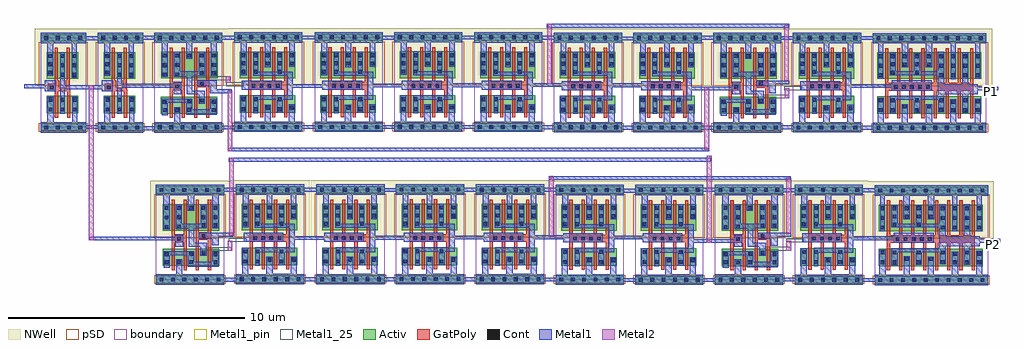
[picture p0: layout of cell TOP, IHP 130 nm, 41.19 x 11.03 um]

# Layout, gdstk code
import gdstk
lib = gdstk.Library(unit=1e-6, precision=1e-09)
def R(c, l, rs):  # rectangles x0, y0, x1, y1
    for r in rs: c.add(gdstk.rectangle(r[:2], r[2:], *l))
def A(c, l, x, y, w, h, nx, ny, dx, dy):  # array of equal rectangles
    R(c, l, [(x+i*dx, y+j*dy, x+i*dx+w, y+j*dy+h) for i in range(nx) for j in range(ny)])
def P(c, l, *ps):  # polygons
    for p in ps: c.add(gdstk.Polygon(p, *l))
Activ = (1, 0)
GatPoly = (5, 0)
Cont = (6, 0)
Metal1 = (8, 0)
Metal1_pin = (8, 2)
Metal1_25 = (8, 25)
Metal2 = (10, 0)
pSD = (14, 0)
NWell = (31, 0)
boundary = (189, 4)

sg13g2_inv_2 = lib.new_cell('sg13g2_inv_2')
R(sg13g2_inv_2, Activ, [(0,-0.15,1.92,0.15), (0.265,0.59,1.59,1.33), (0.255,2.06,1.58,3.18), (0,3.63,1.92,3.93)])
P(sg13g2_inv_2, GatPoly, [(0.605,0.41),(0.605,1.52),(0.305,1.52),(0.305,1.85),(0.595,1.85),(0.595,3.36),(0.725,3.36),(0.725,1.985),(0.785,1.985),(0.785,1.67),(1.055,1.67),(1.055,1.985),(1.11,1.985),(1.11,3.36),(1.24,3.36),(1.24,1.585),(1.245,1.585),(1.245,0.41),(1.115,0.41),(1.115,1.52),(0.735,1.52),(0.735,0.41)])
A(sg13g2_inv_2, Cont, 0.84, 2.145, 0.16, 0.16, 1, 3, 0, 0.395)
A(sg13g2_inv_2, Cont, 1.35, 2.145, 0.16, 0.16, 1, 3, 0, 0.395)
R(sg13g2_inv_2, Cont, [(0.16,-0.08,0.32,0.08), (0.16,-0.08,0.32,0.08), (0.64,-0.08,0.8,0.08), (0.64,-0.08,0.8,0.08), (1.12,-0.08,1.28,0.08), (1.12,-0.08,1.28,0.08), (1.6,-0.08,1.76,0.08), (1.6,-0.08,1.76,0.08), (0.335,0.675,0.495,0.835), (0.845,0.675,1.005,0.835), (1.36,0.675,1.52,0.835), (0.335,1.09,0.495,1.25), (0.845,1.09,1.005,1.25), (1.36,1.09,1.52,1.25), (0.39,1.605,0.55,1.765), (0.325,2.235,0.485,2.395), (0.325,2.59,0.485,2.75), (0.325,2.935,0.485,3.095), (0.16,3.7,0.32,3.86), (0.16,3.7,0.32,3.86), (0.64,3.7,0.8,3.86), (0.64,3.7,0.8,3.86), (1.12,3.7,1.28,3.86), (1.12,3.7,1.28,3.86), (1.6,3.7,1.76,3.86), (1.6,3.7,1.76,3.86)])
R(sg13g2_inv_2, Metal1, [(0.825,0.57,1.02,3.18), (0.18,1.52,0.635,2)])
P(sg13g2_inv_2, Metal1, [(0,-0.22),(0,0.22),(0.285,0.22),(0.285,1.3),(0.545,1.3),(0.545,0.22),(1.34,0.22),(1.34,1.305),(1.54,1.305),(1.54,0.22),(1.92,0.22),(1.92,-0.22)],
  [(1.32,2.095),(1.32,3.56),(0.535,3.56),(0.535,2.185),(0.275,2.185),(0.275,3.56),(0,3.56),(0,4),(1.92,4),(1.92,3.56),(1.535,3.56),(1.535,2.095)])
R(sg13g2_inv_2, Metal1_pin, [(0,-0.22,1.92,0.22), (0.825,0.57,1.02,3.18), (0.18,1.52,0.635,2), (0,3.56,1.92,4)])
R(sg13g2_inv_2, pSD, [(-0.07,-0.18,1.99,0.18), (-0.07,1.76,1.99,3.6)])
R(sg13g2_inv_2, NWell, [(-0.24,1.75,2.16,4.17)])
R(sg13g2_inv_2, boundary, [(0,0,1.92,3.78)])
sg13g2_inv_2.add(gdstk.Label('A', (0.415,1.75), layer=8, texttype=25))
sg13g2_inv_2.add(gdstk.Label('Y', (0.925,1.855), layer=8, texttype=25))
sg13g2_inv_2.add(gdstk.Label('VDD', (0.935,3.785), layer=8, texttype=25))
sg13g2_inv_2.add(gdstk.Label('VSS', (0.89,0), layer=8, texttype=25))

sg13g2_inv_4 = lib.new_cell('sg13g2_inv_4')
R(sg13g2_inv_4, Activ, [(0,-0.15,2.88,0.15), (0.245,0.59,2.585,1.33), (0.245,2.06,2.585,3.18), (0,3.63,2.88,3.93)])
P(sg13g2_inv_4, GatPoly, [(0.585,0.41),(0.585,3.36),(0.715,3.36),(0.715,1.9),(1.095,1.9),(1.095,3.36),(1.225,3.36),(1.225,1.9),(1.605,1.9),(1.605,3.36),(1.735,3.36),(1.735,1.9),(2.115,1.9),(2.115,3.36),(2.245,3.36),(2.245,0.41),(2.115,0.41),(2.115,1.57),(1.735,1.57),(1.735,0.41),(1.605,0.41),(1.605,1.57),(1.225,1.57),(1.225,0.41),(1.095,0.41),(1.095,1.57),(0.715,1.57),(0.715,0.41)])
A(sg13g2_inv_4, Cont, 0.735, 1.655, 0.16, 0.16, 4, 1, 0.34, 0)
A(sg13g2_inv_4, Cont, 0.315, 2.945, 0.16, 0.16, 5, 1, 0.51, 0)
R(sg13g2_inv_4, Cont, [(0.16,-0.08,0.32,0.08), (0.16,-0.08,0.32,0.08), (0.64,-0.08,0.8,0.08), (0.64,-0.08,0.8,0.08), (1.12,-0.08,1.28,0.08), (1.12,-0.08,1.28,0.08), (1.6,-0.08,1.76,0.08), (1.6,-0.08,1.76,0.08), (2.08,-0.08,2.24,0.08), (2.08,-0.08,2.24,0.08), (2.56,-0.08,2.72,0.08), (2.56,-0.08,2.72,0.08), (0.315,0.665,0.475,0.825), (0.825,0.665,0.985,0.825), (1.845,0.665,2.005,0.825), (1.335,0.735,1.495,0.895), (2.355,0.735,2.515,0.895), (0.315,1.09,0.475,1.25), (0.825,1.09,0.985,1.25), (1.845,1.09,2.005,1.25), (0.315,2.255,0.475,2.415), (0.825,2.255,0.985,2.415), (1.845,2.255,2.005,2.415), (1.335,2.595,1.495,2.755), (2.355,2.595,2.515,2.755), (0.315,2.605,0.475,2.765), (0.825,2.605,0.985,2.765), (1.845,2.605,2.005,2.765), (0.16,3.7,0.32,3.86), (0.16,3.7,0.32,3.86), (0.64,3.7,0.8,3.86), (0.64,3.7,0.8,3.86), (1.12,3.7,1.28,3.86), (1.12,3.7,1.28,3.86), (1.6,3.7,1.76,3.86), (1.6,3.7,1.76,3.86), (2.08,3.7,2.24,3.86), (2.08,3.7,2.24,3.86), (2.56,3.7,2.72,3.86), (2.56,3.7,2.72,3.86)])
R(sg13g2_inv_4, Metal1, [(0.325,1.57,2,1.95)])
P(sg13g2_inv_4, Metal1, [(0.285,2.19),(0.285,3.56),(0,3.56),(0,4),(2.88,4),(2.88,3.56),(2.55,3.56),(2.55,2.54),(2.32,2.54),(2.32,3.56),(1.54,3.56),(1.54,2.53),(1.3,2.53),(1.3,3.56),(0.53,3.56),(0.53,2.19)],
  [(0,-0.21),(0,0.21),(0.27,0.21),(0.27,1.325),(0.52,1.325),(0.52,0.21),(1.28,0.21),(1.28,0.945),(1.55,0.945),(1.55,0.22),(2.305,0.22),(2.305,0.95),(2.565,0.95),(2.565,0.21),(2.88,0.21),(2.88,-0.21)],
  [(0.815,0.57),(0.815,1.34),(2.245,1.34),(2.245,2.17),(0.8,2.17),(0.8,3.18),(1.015,3.18),(1.015,2.34),(1.815,2.34),(1.815,3.175),(2.03,3.175),(2.03,2.34),(2.475,2.34),(2.475,1.145),(2.06,1.145),(2.06,0.595),(1.805,0.595),(1.805,1.145),(1.01,1.145),(1.01,0.57)])
R(sg13g2_inv_4, Metal1_pin, [(0,-0.21,2.88,0.21), (2.245,1.145,2.475,2.34), (0.325,1.57,2,1.95), (0,3.56,2.88,4)])
R(sg13g2_inv_4, pSD, [(-0.07,-0.18,2.95,0.18), (-0.07,1.76,2.95,3.6)])
R(sg13g2_inv_4, NWell, [(-0.24,1.75,3.12,4.17)])
R(sg13g2_inv_4, boundary, [(0,0,2.88,3.78)])
sg13g2_inv_4.add(gdstk.Label('VSS', (1.405,0.005), layer=8, texttype=25))
sg13g2_inv_4.add(gdstk.Label('Y', (2.36,1.755), layer=8, texttype=25))
sg13g2_inv_4.add(gdstk.Label('VDD', (1.925,3.8), layer=8, texttype=25))
sg13g2_inv_4.add(gdstk.Label('A', (1.12,1.76), layer=8, texttype=25))

sg13g2_nand2_2 = lib.new_cell('sg13g2_nand2_2')
R(sg13g2_nand2_2, Activ, [(0,-0.15,2.88,0.15), (0.285,0.575,2.67,1.295), (0.3,2.06,2.68,3.18), (0,3.63,2.88,3.93)])
P(sg13g2_nand2_2, GatPoly, [(1.69,0.395),(1.69,3.36),(1.82,3.36),(1.82,1.99),(2.2,1.99),(2.2,3.36),(2.33,3.36),(2.33,0.395),(2.2,0.395),(2.2,1.685),(1.82,1.685),(1.82,0.395)],
  [(0.66,0.395),(0.66,3.36),(0.79,3.36),(0.79,1.875),(1.17,1.875),(1.17,3.36),(1.3,3.36),(1.3,0.395),(1.17,0.395),(1.17,1.565),(0.79,1.565),(0.79,0.395)])
A(sg13g2_nand2_2, Cont, 1.6, -0.08, 0.16, 0.16, 3, 2, 0.48, 3.78)
A(sg13g2_nand2_2, Cont, 0.9, 2.15, 0.16, 0.16, 1, 3, 0, 0.4)
R(sg13g2_nand2_2, Cont, [(0.16,-0.08,0.32,0.08), (0.16,-0.08,0.32,0.08), (0.64,-0.08,0.8,0.08), (0.64,-0.08,0.8,0.08), (1.12,-0.08,1.28,0.08), (1.12,-0.08,1.28,0.08), (1.6,-0.08,1.76,0.08), (0.9,0.645,1.06,0.805), (0.38,0.65,0.54,0.81), (2.44,0.65,2.6,0.81), (1.41,0.66,1.57,0.82), (0.375,0.99,0.535,1.15), (2.44,0.99,2.6,1.15), (1.41,1.005,1.57,1.165), (1.93,1.05,2.09,1.21), (0.9,1.64,1.06,1.8), (1.93,1.76,2.09,1.92), (0.37,2.14,0.53,2.3), (1.93,2.21,2.09,2.37), (2.44,2.21,2.6,2.37), (0.37,2.54,0.53,2.7), (1.93,2.55,2.09,2.71), (2.44,2.55,2.6,2.71), (0.37,2.95,0.53,3.11), (1.41,2.95,1.57,3.11), (1.93,2.95,2.09,3.11), (2.44,2.95,2.6,3.11), (0.16,3.7,0.32,3.86), (0.16,3.7,0.32,3.86), (0.64,3.7,0.8,3.86), (0.64,3.7,0.8,3.86), (1.12,3.7,1.28,3.86), (1.12,3.7,1.28,3.86), (1.6,3.7,1.76,3.86)])
R(sg13g2_nand2_2, Metal1, [(0.82,1.39,1.15,1.92)])
P(sg13g2_nand2_2, Metal1, [(0,-0.22),(0,0.22),(0.85,0.22),(0.85,0.855),(1.11,0.855),(1.11,0.22),(2.88,0.22),(2.88,-0.22)],
  [(0.325,0.5),(0.325,1.2),(1.62,1.2),(1.62,0.76),(2.37,0.76),(2.37,1.2),(2.65,1.2),(2.65,0.53),(1.35,0.53),(1.35,1.035),(0.585,1.035),(0.585,0.5)],
  [(1.88,1),(1.88,1.39),(1.38,1.39),(1.38,2.14),(0.84,2.14),(0.84,3.18),(1.1,3.18),(1.1,2.36),(1.89,2.36),(1.89,3.18),(2.15,3.18),(2.15,2.16),(1.62,2.16),(1.62,1.55),(2.14,1.55),(2.14,1)],
  [(2.37,1.44),(2.37,1.73),(1.815,1.73),(1.815,1.98),(2.645,1.98),(2.645,1.44)],
  [(0.32,2.125),(0.32,3.56),(0,3.56),(0,4),(2.88,4),(2.88,3.56),(2.65,3.56),(2.65,2.16),(2.39,2.16),(2.39,3.56),(1.61,3.56),(1.61,2.9),(1.35,2.9),(1.35,3.56),(0.58,3.56),(0.58,2.125)])
R(sg13g2_nand2_2, Metal1_pin, [(0,-0.22,2.88,0.22), (0.82,1.39,1.15,1.92), (1.38,1.39,1.62,2.36), (1.815,1.73,2.645,1.98), (0,3.56,2.88,4)])
R(sg13g2_nand2_2, pSD, [(-0.07,-0.18,2.95,0.18), (-0.07,1.76,2.95,3.6)])
R(sg13g2_nand2_2, NWell, [(-0.24,1.75,3.12,4.17)])
R(sg13g2_nand2_2, boundary, [(0,0,2.88,3.78)])
sg13g2_nand2_2.add(gdstk.Label('VSS', (0.51,0), layer=8, texttype=25))
sg13g2_nand2_2.add(gdstk.Label('A', (2.01,1.84), layer=8, texttype=25))
sg13g2_nand2_2.add(gdstk.Label('VDD', (0.97,3.78), layer=8, texttype=25))
sg13g2_nand2_2.add(gdstk.Label('B', (0.98,1.655), layer=8, texttype=25))
sg13g2_nand2_2.add(gdstk.Label('Y', (1.48,2.105), layer=8, texttype=25))

sg13g2_inv_8 = lib.new_cell('sg13g2_inv_8')
R(sg13g2_inv_8, Activ, [(0,-0.15,4.8,0.15), (0.185,0.59,4.575,1.33), (0.185,2.06,4.575,3.18), (0,3.63,4.8,3.93)])
P(sg13g2_inv_8, GatPoly, [(0.525,0.41),(0.525,3.36),(0.655,3.36),(0.655,1.9),(1.035,1.9),(1.035,3.36),(1.165,3.36),(1.165,1.9),(1.545,1.9),(1.545,3.36),(1.675,3.36),(1.675,1.9),(2.055,1.9),(2.055,3.36),(2.185,3.36),(2.185,1.9),(2.565,1.9),(2.565,3.36),(2.695,3.36),(2.695,1.9),(3.075,1.9),(3.075,3.36),(3.205,3.36),(3.205,1.9),(3.585,1.9),(3.585,3.36),(3.715,3.36),(3.715,1.9),(4.105,1.9),(4.105,3.36),(4.235,3.36),(4.235,0.41),(4.105,0.41),(4.105,1.57),(3.715,1.57),(3.715,0.41),(3.585,0.41),(3.585,1.57),(3.205,1.57),(3.205,0.41),(3.075,0.41),(3.075,1.57),(2.695,1.57),(2.695,0.41),(2.565,0.41),(2.565,1.57),(2.185,1.57),(2.185,0.41),(2.055,0.41),(2.055,1.57),(1.675,1.57),(1.675,0.41),(1.545,0.41),(1.545,1.57),(1.165,1.57),(1.165,0.41),(1.035,0.41),(1.035,1.57),(0.655,1.57),(0.655,0.41)])
A(sg13g2_inv_8, Cont, 0.765, 1.08, 0.16, 0.16, 4, 1, 1.02, 0)
A(sg13g2_inv_8, Cont, 0.89, 1.655, 0.16, 0.16, 5, 1, 0.34, 0)
A(sg13g2_inv_8, Cont, 2.805, 2.14, 0.16, 0.16, 3, 2, 0.51, 0.4)
A(sg13g2_inv_8, Cont, 0.255, 2.945, 0.16, 0.16, 8, 1, 0.51, 0)
R(sg13g2_inv_8, Cont, [(0.16,-0.08,0.32,0.08), (0.16,-0.08,0.32,0.08), (0.64,-0.08,0.8,0.08), (0.64,-0.08,0.8,0.08), (1.12,-0.08,1.28,0.08), (1.12,-0.08,1.28,0.08), (1.6,-0.08,1.76,0.08), (1.6,-0.08,1.76,0.08), (2.08,-0.08,2.24,0.08), (2.08,-0.08,2.24,0.08), (2.56,-0.08,2.72,0.08), (2.56,-0.08,2.72,0.08), (3.04,-0.08,3.2,0.08), (3.04,-0.08,3.2,0.08), (3.52,-0.08,3.68,0.08), (3.52,-0.08,3.68,0.08), (4,-0.08,4.16,0.08), (4,-0.08,4.16,0.08), (4.48,-0.08,4.64,0.08), (4.48,-0.08,4.64,0.08), (3.315,0.665,3.475,0.825), (0.255,0.67,0.415,0.83), (0.765,0.67,0.925,0.83), (1.785,0.67,1.945,0.83), (3.825,0.67,3.985,0.83), (4.345,0.67,4.505,0.83), (2.805,0.675,2.965,0.835), (1.275,0.815,1.435,0.975), (2.295,0.815,2.455,0.975), (3.315,1.015,3.475,1.175), (4.345,1.025,4.505,1.185), (0.255,1.08,0.415,1.24), (0.255,2.14,0.415,2.3), (4.345,2.14,4.505,2.3), (0.765,2.255,0.925,2.415), (1.785,2.255,1.945,2.415), (0.255,2.54,0.415,2.7), (4.345,2.54,4.505,2.7), (1.275,2.595,1.435,2.755), (2.295,2.595,2.455,2.755), (0.765,2.605,0.925,2.765), (1.785,2.605,1.945,2.765), (4.345,2.945,4.505,3.105), (0.16,3.7,0.32,3.86), (0.16,3.7,0.32,3.86), (0.64,3.7,0.8,3.86), (0.64,3.7,0.8,3.86), (1.12,3.7,1.28,3.86), (1.12,3.7,1.28,3.86), (1.6,3.7,1.76,3.86), (1.6,3.7,1.76,3.86), (2.08,3.7,2.24,3.86), (2.08,3.7,2.24,3.86), (2.56,3.7,2.72,3.86), (2.56,3.7,2.72,3.86), (3.04,3.7,3.2,3.86), (3.04,3.7,3.2,3.86), (3.52,3.7,3.68,3.86), (3.52,3.7,3.68,3.86), (4,3.7,4.16,3.86), (4,3.7,4.16,3.86), (4.48,3.7,4.64,3.86), (4.48,3.7,4.64,3.86)])
R(sg13g2_inv_8, Metal1, [(0.805,1.57,2.495,2)])
P(sg13g2_inv_8, Metal1, [(0,-0.22),(0,0.22),(0.205,0.22),(0.205,1.27),(0.465,1.27),(0.465,0.22),(1.225,0.22),(1.225,1),(1.485,1),(1.485,0.22),(2.245,0.22),(2.245,0.99),(2.505,0.99),(2.505,0.22),(3.265,0.22),(3.265,1.195),(3.525,1.195),(3.525,0.22),(4.295,0.22),(4.295,1.225),(4.555,1.225),(4.555,0.22),(4.8,0.22),(4.8,-0.22)],
  [(3.29,2.055),(3.29,3.56),(2.515,3.56),(2.515,2.56),(2.245,2.56),(2.245,3.56),(1.495,3.56),(1.495,2.565),(1.215,2.565),(1.215,3.56),(0.435,3.56),(0.435,2.06),(0.24,2.06),(0.24,3.56),(0,3.56),(0,4),(4.8,4),(4.8,3.56),(4.53,3.56),(4.53,2.065),(4.32,2.065),(4.32,3.56),(3.5,3.56),(3.5,2.055)],
  [(0.715,0.62),(0.715,1.345),(2.74,1.345),(2.74,2.22),(0.715,2.22),(0.715,3.16),(0.98,3.16),(0.98,2.385),(1.73,2.385),(1.73,3.155),(1.995,3.155),(1.995,2.38),(2.74,2.38),(2.74,3.2),(3.015,3.2),(3.015,1.84),(3.775,1.84),(3.775,3.19),(4.035,3.19),(4.035,1.84),(4.44,1.84),(4.44,1.42),(4.035,1.42),(4.035,0.64),(3.775,0.64),(3.775,1.42),(3.015,1.42),(3.015,0.665),(2.755,0.665),(2.755,1.18),(2,1.18),(2,0.635),(1.735,0.635),(1.735,1.18),(0.98,1.18),(0.98,0.62)])
R(sg13g2_inv_8, Metal1_pin, [(0,-0.22,4.8,0.22), (2.74,1.42,4.44,1.84), (0.805,1.57,2.495,2), (0,3.56,4.8,4)])
R(sg13g2_inv_8, pSD, [(-0.07,-0.18,4.87,0.18), (-0.07,1.76,4.87,3.6)])
R(sg13g2_inv_8, NWell, [(-0.24,1.75,5.04,4.17)])
R(sg13g2_inv_8, boundary, [(0,0,4.8,3.78)])
sg13g2_inv_8.add(gdstk.Label('VDD', (2.71,3.78), layer=8, texttype=25))
sg13g2_inv_8.add(gdstk.Label('VSS', (2.31,-0.02), layer=8, texttype=25))
sg13g2_inv_8.add(gdstk.Label('A', (1.645,1.785), layer=8, texttype=25))
sg13g2_inv_8.add(gdstk.Label('Y', (3.65,1.64), layer=8, texttype=25))

top = lib.new_cell('TOP')
top.add(gdstk.FlexPath([(-1.99,0.02),(-2.915,0.02)], 0.16, ends="flush", simple_path=True, layer=8, datatype=0))  # Metal1
top.add(gdstk.FlexPath([(5.855,-0.195),(5.105,-0.195)], 0.16, ends="flush", simple_path=True, layer=8, datatype=0))  # Metal1
top.add(gdstk.FlexPath([(22.345,-8.155),(22.925,-8.155),(22.925,-8.155),(22.925,-8.155)], 0.16, ends="flush", simple_path=True, layer=8, datatype=0))  # Metal1
top.add(gdstk.FlexPath([(32.435,-8.155),(33.015,-8.155),(33.015,-8.155),(33.015,-8.155)], 0.16, ends="flush", simple_path=True, layer=8, datatype=0))  # Metal1
top.add(gdstk.FlexPath([(29.045,-8.14),(29.625,-8.14),(29.625,-8.14),(29.625,-8.14)], 0.16, ends="flush", simple_path=True, layer=8, datatype=0))  # Metal1
top.add(gdstk.FlexPath([(15.61,-8.13),(16.19,-8.13),(16.19,-8.13),(16.19,-8.13)], 0.16, ends="flush", simple_path=True, layer=8, datatype=0))  # Metal1
top.add(gdstk.FlexPath([(22.27,-1.73),(22.85,-1.73),(22.85,-1.73),(22.85,-1.73)], 0.16, ends="flush", simple_path=True, layer=8, datatype=0))  # Metal1
top.add(gdstk.FlexPath([(32.36,-1.73),(32.94,-1.73),(32.94,-1.73),(32.94,-1.73)], 0.16, ends="flush", simple_path=True, layer=8, datatype=0))  # Metal1
top.add(gdstk.FlexPath([(28.97,-1.715),(29.55,-1.715),(29.55,-1.715),(29.55,-1.715)], 0.16, ends="flush", simple_path=True, layer=8, datatype=0))  # Metal1
top.add(gdstk.FlexPath([(15.535,-1.705),(16.115,-1.705),(16.115,-1.705),(16.115,-1.705)], 0.16, ends="flush", simple_path=True, layer=8, datatype=0))  # Metal1
top.add(gdstk.FlexPath([(26.07,-3.085),(5.735,-3.085)], 0.16, ends="flush", simple_path=True, layer=8, datatype=0))  # Metal1
top.add(gdstk.FlexPath([(26.015,-2.65),(5.68,-2.65)], 0.16, ends="flush", simple_path=True, layer=8, datatype=0))  # Metal1
top.add(gdstk.FlexPath([(11.885,-6.37),(13.535,-6.38),(13.535,-6.38)], 0.16, ends="flush", simple_path=True, layer=8, datatype=0))  # Metal1
top.add(gdstk.FlexPath([(15.23,-6.36),(16.88,-6.37),(16.88,-6.37)], 0.16, ends="flush", simple_path=True, layer=8, datatype=0))  # Metal1
top.add(gdstk.FlexPath([(21.975,-6.36),(23.625,-6.37),(23.625,-6.37)], 0.16, ends="flush", simple_path=True, layer=8, datatype=0))  # Metal1
top.add(gdstk.FlexPath([(18.56,-6.35),(20.21,-6.36),(20.21,-6.36)], 0.16, ends="flush", simple_path=True, layer=8, datatype=0))  # Metal1
top.add(gdstk.FlexPath([(11.81,0.055),(13.46,0.045),(13.46,0.045)], 0.16, ends="flush", simple_path=True, layer=8, datatype=0))  # Metal1
top.add(gdstk.FlexPath([(15.155,0.065),(16.805,0.055),(16.805,0.055)], 0.16, ends="flush", simple_path=True, layer=8, datatype=0))  # Metal1
top.add(gdstk.FlexPath([(21.9,0.065),(23.55,0.055),(23.55,0.055)], 0.16, ends="flush", simple_path=True, layer=8, datatype=0))  # Metal1
top.add(gdstk.FlexPath([(18.485,0.075),(20.135,0.065),(20.135,0.065)], 0.16, ends="flush", simple_path=True, layer=8, datatype=0))  # Metal1
top.add(gdstk.FlexPath([(29.455,-6.25),(28.8,-6.25)], 0.16, ends="flush", simple_path=True, layer=8, datatype=0))  # Metal1
top.add(gdstk.FlexPath([(29.38,0.175),(28.725,0.175)], 0.16, ends="flush", simple_path=True, layer=8, datatype=0))  # Metal1
top.add(gdstk.FlexPath([(10.115,-6.4),(8.465,-6.39),(8.465,-6.39)], 0.16, ends="flush", simple_path=True, layer=8, datatype=0))  # Metal1
top.add(gdstk.FlexPath([(0.44,-0.03),(-1.21,-0.02),(-1.21,-0.02)], 0.16, ends="flush", simple_path=True, layer=8, datatype=0))  # Metal1
top.add(gdstk.FlexPath([(10.04,0.025),(8.39,0.035),(8.39,0.035)], 0.16, ends="flush", simple_path=True, layer=8, datatype=0))  # Metal1
top.add(gdstk.FlexPath([(-0.17,-6.405),(3.535,-6.405)], 0.16, ends="flush", simple_path=True, layer=8, datatype=0))  # Metal1
top.add(gdstk.FlexPath([(19.225,-3.85),(29.45,-3.85)], 0.16, ends="flush", simple_path=True, layer=8, datatype=0))  # Metal1
top.add(gdstk.FlexPath([(19.15,2.575),(29.375,2.575)], 0.16, ends="flush", simple_path=True, layer=8, datatype=0))  # Metal1
top.add(gdstk.FlexPath([(5.92,-6.245),(5.16,-6.245)], 0.16, ends="flush", simple_path=True, layer=8, datatype=0))  # Metal1
top.add(gdstk.FlexPath([(37.27,-6.505),(38.275,-6.505)], 0.16, ends="flush", simple_path=True, layer=8, datatype=0))  # Metal1
top.add(gdstk.FlexPath([(37.195,-0.08),(38.2,-0.08)], 0.16, ends="flush", simple_path=True, layer=8, datatype=0))  # Metal1
top.add(gdstk.FlexPath([(27.065,-6.515),(25.27,-6.5),(25.265,-6.5)], 0.16, ends="flush", simple_path=True, layer=8, datatype=0))  # Metal1
top.add(gdstk.FlexPath([(26.99,-0.09),(25.195,-0.075),(25.19,-0.075)], 0.16, ends="flush", simple_path=True, layer=8, datatype=0))  # Metal1
top.add(gdstk.FlexPath([(26.295,-8.16),(25.715,-8.16),(25.715,-8.16),(25.715,-8.16)], 0.16, ends="flush", simple_path=True, layer=8, datatype=0))  # Metal1
top.add(gdstk.FlexPath([(6.06,-8.145),(5.48,-8.145),(5.48,-8.145),(5.48,-8.145)], 0.16, ends="flush", simple_path=True, layer=8, datatype=0))  # Metal1
top.add(gdstk.FlexPath([(19.565,-8.14),(18.985,-8.14),(18.985,-8.14),(18.985,-8.14)], 0.16, ends="flush", simple_path=True, layer=8, datatype=0))  # Metal1
top.add(gdstk.FlexPath([(9.46,-8.125),(8.88,-8.125),(8.88,-8.125),(8.88,-8.125)], 0.16, ends="flush", simple_path=True, layer=8, datatype=0))  # Metal1
top.add(gdstk.FlexPath([(12.845,-8.125),(12.265,-8.125),(12.265,-8.125),(12.265,-8.125)], 0.16, ends="flush", simple_path=True, layer=8, datatype=0))  # Metal1
top.add(gdstk.FlexPath([(22.96,-4.395),(22.38,-4.395),(22.38,-4.395),(22.38,-4.395)], 0.16, ends="flush", simple_path=True, layer=8, datatype=0))  # Metal1
top.add(gdstk.FlexPath([(29.655,-4.37),(29.075,-4.37),(29.075,-4.37),(29.075,-4.37)], 0.16, ends="flush", simple_path=True, layer=8, datatype=0))  # Metal1
top.add(gdstk.FlexPath([(33.03,-4.37),(32.45,-4.37),(32.45,-4.37),(32.45,-4.37)], 0.16, ends="flush", simple_path=True, layer=8, datatype=0))  # Metal1
top.add(gdstk.FlexPath([(12.845,-4.365),(12.265,-4.365),(12.265,-4.365),(12.265,-4.365)], 0.16, ends="flush", simple_path=True, layer=8, datatype=0))  # Metal1
top.add(gdstk.FlexPath([(6.065,-4.355),(5.485,-4.355),(5.485,-4.355),(5.485,-4.355)], 0.16, ends="flush", simple_path=True, layer=8, datatype=0))  # Metal1
top.add(gdstk.FlexPath([(19.555,-4.355),(18.975,-4.355),(18.975,-4.355),(18.975,-4.355)], 0.16, ends="flush", simple_path=True, layer=8, datatype=0))  # Metal1
top.add(gdstk.FlexPath([(26.255,-4.355),(25.675,-4.355),(25.675,-4.355),(25.675,-4.355)], 0.16, ends="flush", simple_path=True, layer=8, datatype=0))  # Metal1
top.add(gdstk.FlexPath([(9.45,-4.35),(8.87,-4.35),(8.87,-4.35),(8.87,-4.35)], 0.16, ends="flush", simple_path=True, layer=8, datatype=0))  # Metal1
top.add(gdstk.FlexPath([(16.205,-4.35),(15.625,-4.35),(15.625,-4.35),(15.625,-4.35)], 0.16, ends="flush", simple_path=True, layer=8, datatype=0))  # Metal1
top.add(gdstk.FlexPath([(2.6,-1.75),(2.02,-1.75),(2.02,-1.75),(2.02,-1.75)], 0.16, ends="flush", simple_path=True, layer=8, datatype=0))  # Metal1
top.add(gdstk.FlexPath([(26.22,-1.735),(25.64,-1.735),(25.64,-1.735),(25.64,-1.735)], 0.16, ends="flush", simple_path=True, layer=8, datatype=0))  # Metal1
top.add(gdstk.FlexPath([(5.985,-1.72),(5.405,-1.72),(5.405,-1.72),(5.405,-1.72)], 0.16, ends="flush", simple_path=True, layer=8, datatype=0))  # Metal1
top.add(gdstk.FlexPath([(19.49,-1.715),(18.91,-1.715),(18.91,-1.715),(18.91,-1.715)], 0.16, ends="flush", simple_path=True, layer=8, datatype=0))  # Metal1
top.add(gdstk.FlexPath([(0.2,-1.705),(-0.38,-1.705),(-0.38,-1.705),(-0.38,-1.705)], 0.16, ends="flush", simple_path=True, layer=8, datatype=0))  # Metal1
top.add(gdstk.FlexPath([(9.385,-1.7),(8.805,-1.7),(8.805,-1.7),(8.805,-1.7)], 0.16, ends="flush", simple_path=True, layer=8, datatype=0))  # Metal1
top.add(gdstk.FlexPath([(12.77,-1.7),(12.19,-1.7),(12.19,-1.7),(12.19,-1.7)], 0.16, ends="flush", simple_path=True, layer=8, datatype=0))  # Metal1
top.add(gdstk.FlexPath([(22.885,2.03),(22.305,2.03),(22.305,2.03),(22.305,2.03)], 0.16, ends="flush", simple_path=True, layer=8, datatype=0))  # Metal1
top.add(gdstk.FlexPath([(0.24,2.04),(-0.34,2.04),(-0.34,2.04),(-0.34,2.04)], 0.16, ends="flush", simple_path=True, layer=8, datatype=0))  # Metal1
top.add(gdstk.FlexPath([(29.58,2.055),(29,2.055),(29,2.055),(29,2.055)], 0.16, ends="flush", simple_path=True, layer=8, datatype=0))  # Metal1
top.add(gdstk.FlexPath([(32.955,2.055),(32.375,2.055),(32.375,2.055),(32.375,2.055)], 0.16, ends="flush", simple_path=True, layer=8, datatype=0))  # Metal1
top.add(gdstk.FlexPath([(2.625,2.06),(2.045,2.06),(2.045,2.06),(2.045,2.06)], 0.16, ends="flush", simple_path=True, layer=8, datatype=0))  # Metal1
top.add(gdstk.FlexPath([(12.77,2.06),(12.19,2.06),(12.19,2.06),(12.19,2.06)], 0.16, ends="flush", simple_path=True, layer=8, datatype=0))  # Metal1
top.add(gdstk.FlexPath([(5.99,2.07),(5.41,2.07),(5.41,2.07),(5.41,2.07)], 0.16, ends="flush", simple_path=True, layer=8, datatype=0))  # Metal1
top.add(gdstk.FlexPath([(19.48,2.07),(18.9,2.07),(18.9,2.07),(18.9,2.07)], 0.16, ends="flush", simple_path=True, layer=8, datatype=0))  # Metal1
top.add(gdstk.FlexPath([(26.18,2.07),(25.6,2.07),(25.6,2.07),(25.6,2.07)], 0.16, ends="flush", simple_path=True, layer=8, datatype=0))  # Metal1
top.add(gdstk.FlexPath([(9.375,2.075),(8.795,2.075),(8.795,2.075),(8.795,2.075)], 0.16, ends="flush", simple_path=True, layer=8, datatype=0))  # Metal1
top.add(gdstk.FlexPath([(16.13,2.075),(15.55,2.075),(15.55,2.075),(15.55,2.075)], 0.16, ends="flush", simple_path=True, layer=8, datatype=0))  # Metal1
top.add(gdstk.FlexPath([(33.8,-6.4),(32.02,-6.4)], 0.16, ends="flush", simple_path=True, layer=8, datatype=0))  # Metal1
top.add(gdstk.FlexPath([(33.725,0.025),(31.945,0.025)], 0.16, ends="flush", simple_path=True, layer=8, datatype=0))  # Metal1
top.add(gdstk.FlexPath([(1.185,0.045),(3.465,0.045)], 0.16, ends="flush", simple_path=True, layer=8, datatype=0))  # Metal1
top.add(gdstk.FlexPath([(4.17,0.35),(5.8,0.355)], 0.16, ends="flush", simple_path=True, layer=8, datatype=25))  # Metal1_25
top.add(gdstk.FlexPath([(29.255,-6.49),(29.99,-6.49)], 0.16, ends="flush", simple_path=True, layer=8, datatype=25))  # Metal1_25
top.add(gdstk.FlexPath([(5.725,-6.47),(6.46,-6.47)], 0.16, ends="flush", simple_path=True, layer=8, datatype=25))  # Metal1_25
top.add(gdstk.FlexPath([(29.18,-0.065),(29.915,-0.065)], 0.16, ends="flush", simple_path=True, layer=8, datatype=25))  # Metal1_25
top.add(gdstk.FlexPath([(5.63,0.1),(6.365,0.1)], 0.16, ends="flush", simple_path=True, layer=8, datatype=25))  # Metal1_25
top.add(gdstk.FlexPath([(4.76,-6.855),(5.855,-6.85)], 0.16, ends="flush", simple_path=True, layer=8, datatype=25))  # Metal1_25
top.add(gdstk.FlexPath([(28.365,-6.84),(29.46,-6.835)], 0.16, ends="flush", simple_path=True, layer=8, datatype=25))  # Metal1_25
top.add(gdstk.FlexPath([(28.29,-0.415),(29.385,-0.41)], 0.16, ends="flush", simple_path=True, layer=8, datatype=25))  # Metal1_25
top.add(gdstk.FlexPath([(5.78,-2.72),(5.78,-0.175)], 0.2, ends="flush", simple_path=True, layer=10, datatype=0))  # Metal2
top.add(gdstk.FlexPath([(-0.075,0.05),(-0.075,-6.48)], 0.2, ends="flush", simple_path=True, layer=10, datatype=0))  # Metal2
top.add(gdstk.FlexPath([(5.84,-6.3),(5.84,-2.995)], 0.2, ends="flush", simple_path=True, layer=10, datatype=0))  # Metal2
top.add(gdstk.FlexPath([(26.005,-2.92),(26.005,-6.585)], 0.2, ends="flush", simple_path=True, layer=10, datatype=0))  # Metal2
top.add(gdstk.FlexPath([(5.7,0.17),(5.7,0.44)], 0.2, ends="flush", simple_path=True, layer=10, datatype=0))  # Metal2
top.add(gdstk.FlexPath([(29.265,0.24),(29.265,2.59)], 0.2, ends="flush", simple_path=True, layer=10, datatype=0))  # Metal2
top.add(gdstk.FlexPath([(29.355,-6.2),(29.355,-3.845)], 0.2, ends="flush", simple_path=True, layer=10, datatype=0))  # Metal2
top.add(gdstk.FlexPath([(5.775,-6.925),(5.775,-6.51)], 0.2, ends="flush", simple_path=True, layer=10, datatype=0))  # Metal2
top.add(gdstk.FlexPath([(29.36,-6.915),(29.36,-6.5)], 0.2, ends="flush", simple_path=True, layer=10, datatype=0))  # Metal2
top.add(gdstk.FlexPath([(29.285,-0.49),(29.285,-0.075)], 0.2, ends="flush", simple_path=True, layer=10, datatype=0))  # Metal2
top.add(gdstk.FlexPath([(25.9,0),(25.9,-2.665)], 0.2, ends="flush", simple_path=True, layer=10, datatype=0))  # Metal2
top.add(gdstk.FlexPath([(19.34,-6.34),(19.34,-3.81)], 0.2, ends="flush", simple_path=True, layer=10, datatype=0))  # Metal2
top.add(gdstk.FlexPath([(19.265,0.115),(19.265,2.645)], 0.2, ends="flush", simple_path=True, layer=10, datatype=0))  # Metal2
top.add(gdstk.Reference(sg13g2_inv_2, (-2.215,-1.72)))
top.add(gdstk.Reference(sg13g2_inv_2, (0.19,-1.72)))
top.add(gdstk.Reference(sg13g2_inv_4, (22.875,-8.145)))
top.add(gdstk.Reference(sg13g2_inv_4, (29.605,-8.145)))
top.add(gdstk.Reference(sg13g2_inv_4, (19.52,-8.14)))
top.add(gdstk.Reference(sg13g2_inv_4, (6.03,-8.125)))
top.add(gdstk.Reference(sg13g2_inv_4, (9.425,-8.125)))
top.add(gdstk.Reference(sg13g2_inv_4, (16.16,-8.125)))
top.add(gdstk.Reference(sg13g2_inv_4, (12.78,-8.12)))
top.add(gdstk.Reference(sg13g2_inv_4, (22.8,-1.72)))
top.add(gdstk.Reference(sg13g2_inv_4, (29.53,-1.72)))
top.add(gdstk.Reference(sg13g2_inv_4, (19.445,-1.715)))
top.add(gdstk.Reference(sg13g2_inv_4, (5.955,-1.7)))
top.add(gdstk.Reference(sg13g2_inv_4, (9.35,-1.7)))
top.add(gdstk.Reference(sg13g2_inv_4, (16.085,-1.7)))
top.add(gdstk.Reference(sg13g2_inv_4, (12.705,-1.695)))
top.add(gdstk.Reference(sg13g2_nand2_2, (26.24,-8.145)))
top.add(gdstk.Reference(sg13g2_nand2_2, (2.65,-8.14)))
top.add(gdstk.Reference(sg13g2_nand2_2, (26.165,-1.72)))
top.add(gdstk.Reference(sg13g2_nand2_2, (2.575,-1.715)))
top.add(gdstk.Reference(sg13g2_inv_8, (32.98,-8.16)))
top.add(gdstk.Reference(sg13g2_inv_8, (32.905,-1.735)))
top.add(gdstk.Label('P1', (37.905,-0.215), layer=8, texttype=25))
top.add(gdstk.Label('P2', (37.98,-6.64), layer=8, texttype=25))

lib.write_gds('TOP.gds')
